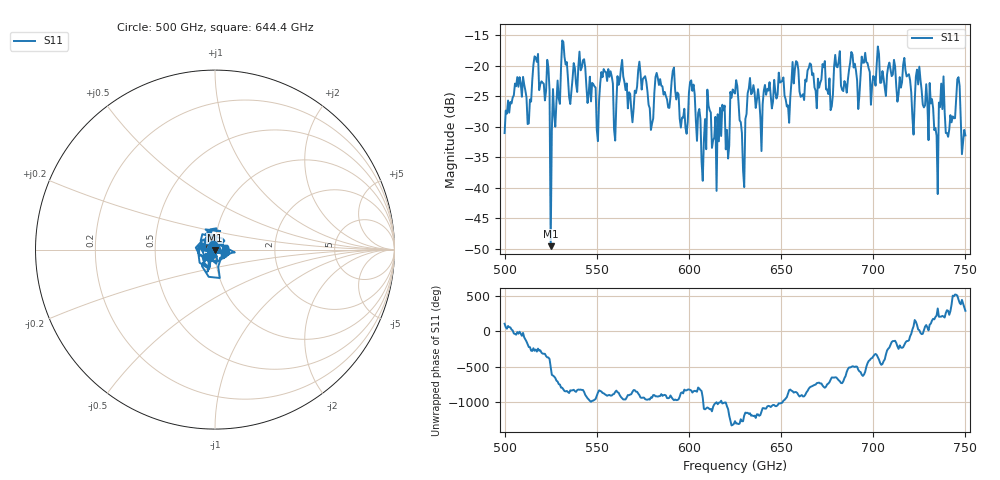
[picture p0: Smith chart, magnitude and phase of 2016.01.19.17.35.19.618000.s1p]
!Created with skrf (http://scikit-rf.org).
# GHz S RI R 50.0
!freq ReS11 ImS11
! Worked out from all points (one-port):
!   401 points, 500 GHz to 750 GHz, reference 50 ohm
!   lowest |S11| = -49.6 dB at 525 GHz (marker M1), VSWR 1.01, Z = 49.7 - j0.182 ohm
!   |S11| at or under -10 dB: start of sweep to end of sweep
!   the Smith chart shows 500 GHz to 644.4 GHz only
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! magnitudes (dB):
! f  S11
! 500 GHz  -31.1
! 506.9 GHz  -21.9
! 513.1 GHz  -29.5
! 516.9 GHz  -18.7
! 525 GHz  -49.6
! 526.2 GHz  -23.9
! 531.2 GHz  -15.9
! 550 GHz  -30.5
! 562.5 GHz  -22.4
! 579.4 GHz  -30.6
! 583.1 GHz  -22.1
! 593.8 GHz  -24.4
! 598.1 GHz  -30.2
! 601.9 GHz  -24.1
! 608.1 GHz  -32.2
! 610.6 GHz  -26.5
! 620.6 GHz  -30.5
! 625 GHz  -24.6
! 628.8 GHz  -31.1
! 633.8 GHz  -24.7
! 656.2 GHz  -19.4
! 687.5 GHz  -19.5
! 718.8 GHz  -21.6
! 733.8 GHz  -30.3
! 736.9 GHz  -23.0
! 740.6 GHz  -31.7
! 746.2 GHz  -21.9
! 750 GHz  -31.5
